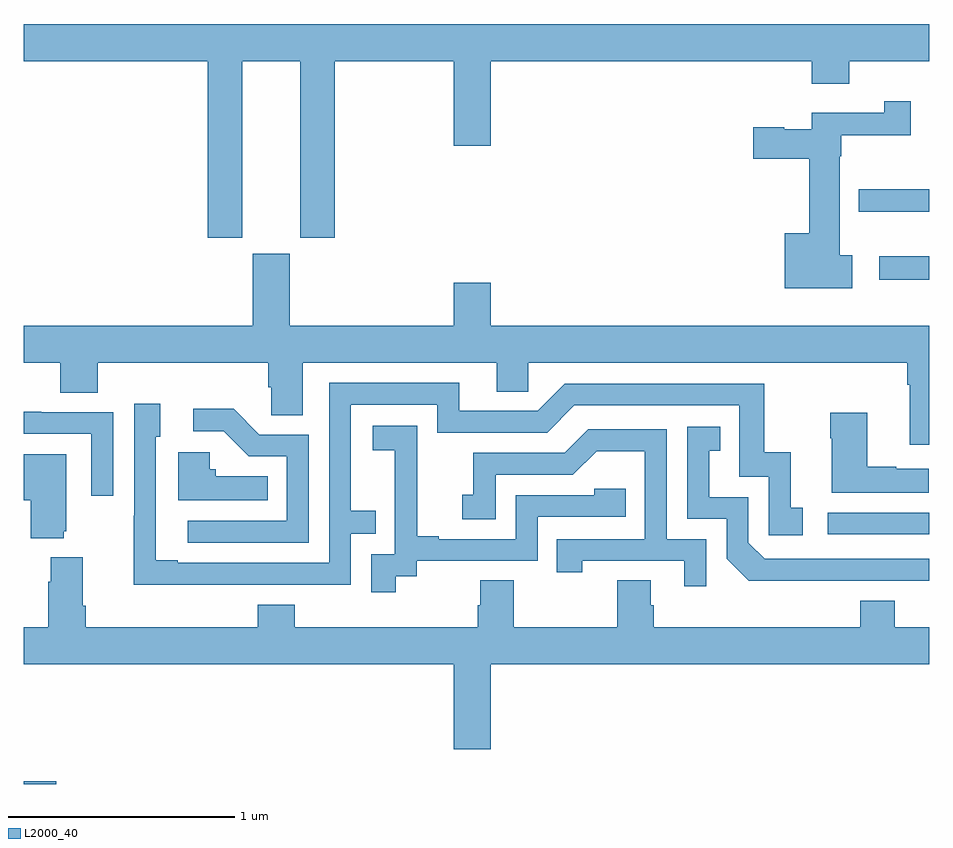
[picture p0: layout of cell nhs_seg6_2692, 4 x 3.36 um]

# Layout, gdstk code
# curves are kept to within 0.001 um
import gdstk
lib = gdstk.Library(unit=1e-6, precision=1e-09)
def R(c, l, rs):  # rectangles x0, y0, x1, y1
    for r in rs: c.add(gdstk.rectangle(r[:2], r[2:], *l))
def P(c, l, *ps):  # polygons
    for p in ps: c.add(gdstk.Polygon(p, *l))
L2000_40 = (2000, 40)

nhs_seg6_2692 = lib.new_cell('nhs_seg6_2692')
R(nhs_seg6_2692, L2000_40, [(271,921.5,271.144,921.512), (274.551,922.602,275,922.698), (274.779,923.726,275,923.83), (274.688,924.026,275,924.126)])
P(nhs_seg6_2692, L2000_40, [(271,924.692),(271.814,924.692),(271.814,923.913),(271.966,923.913),(271.966,924.692),(272.222,924.692),(272.222,923.913),(272.375,923.913),(272.375,924.692),(272.9,924.692),(272.9,924.318),(273.064,924.318),(273.064,924.692),(274.481,924.692),(274.481,924.593),(274.646,924.593),(274.646,924.692),(275,924.692),(275,924.856),(271,924.856)],
  [(274.66,923.835),(274.603,923.835),(274.603,924.273),(274.611,924.273),(274.611,924.364),(274.918,924.364),(274.918,924.514),(274.801,924.514),(274.801,924.463),(274.481,924.463),(274.481,924.391),(274.359,924.391),(274.359,924.399),(274.221,924.399),(274.221,924.262),(274.469,924.262),(274.469,923.932),(274.361,923.932),(274.361,923.69),(274.66,923.69)],
  [(275,923.524),(273.064,923.524),(273.064,923.713),(272.9,923.713),(272.9,923.524),(272.176,923.524),(272.176,923.841),(272.012,923.841),(272.012,923.524),(271,923.524),(271,923.36),(271.163,923.36),(271.163,923.227),(271.328,923.227),(271.328,923.36),(272.081,923.36),(272.081,923.251),(272.094,923.251),(272.094,923.128),(272.233,923.128),(272.233,923.36),(273.089,923.36),(273.089,923.233),(273.228,923.233),(273.228,923.36),(274.901,923.36),(274.901,923.264),(274.913,923.264),(274.913,922.998),(275,922.998)],
  [(271.949,922.38),(272.445,922.38),(272.445,922.605),(272.555,922.605),(272.555,922.706),(272.445,922.706),(272.445,923.175),(272.826,923.175),(272.826,923.052),(273.312,923.052),(273.432,923.172),(274.161,923.172),(274.161,922.857),(274.29,922.857),(274.29,922.599),(274.441,922.599),(274.441,922.719),(274.388,922.719),(274.388,922.966),(274.27,922.966),(274.27,923.268),(273.39,923.268),(273.27,923.148),(272.923,923.148),(272.923,923.271),(272.349,923.271),(272.349,922.476),(271.681,922.476),(271.681,922.489),(271.584,922.489),(271.584,923.034),(271.603,923.034),(271.603,923.179),(271.488,923.179),(271.488,922.685),(271.486,922.685),(271.486,922.379)],
  [(272.259,923.043),(272.04,923.043),(271.927,923.156),(271.749,923.156),(271.749,923.058),(271.883,923.058),(271.994,922.947),(272.163,922.947),(272.163,922.662),(271.725,922.662),(271.725,922.566),(272.259,922.566)],
  [(271.395,923.142),(271.079,923.142),(271.079,923.144),(271,923.144),(271,923.046),(271.299,923.046),(271.299,922.773),(271.395,922.773)],
  [(274.996,922.891),(274.853,922.891),(274.853,922.901),(274.726,922.901),(274.726,923.14),(274.561,923.14),(274.561,923.027),(274.568,923.027),(274.568,922.787),(274.996,922.787)],
  [(272.644,922.417),(272.736,922.417),(272.736,922.485),(273.27,922.485),(273.27,922.68),(273.659,922.68),(273.659,922.803),(273.519,922.803),(273.519,922.776),(273.174,922.776),(273.174,922.581),(272.833,922.581),(272.833,922.594),(272.738,922.594),(272.738,922.877),(272.739,922.877),(272.739,923.083),(272.541,923.083),(272.541,922.973),(272.639,922.973),(272.639,922.745),(272.64,922.745),(272.64,922.515),(272.535,922.515),(272.535,922.347),(272.644,922.347)],
  [(274.61,922.398),(275,922.398),(275,922.494),(274.272,922.494),(274.2,922.566),(274.2,922.767),(274.027,922.767),(274.027,922.971),(274.076,922.971),(274.076,923.077),(273.93,923.077),(273.93,922.671),(274.104,922.671),(274.104,922.494),(274.202,922.397)],
  [(274.014,922.581),(273.84,922.581),(273.84,923.067),(273.494,923.067),(273.389,922.962),(272.986,922.962),(272.986,922.777),(272.937,922.777),(272.937,922.668),(273.084,922.668),(273.084,922.866),(273.426,922.866),(273.53,922.97),(273.744,922.97),(273.744,922.581),(273.355,922.581),(273.355,922.434),(273.466,922.434),(273.466,922.485),(273.917,922.485),(273.917,922.374),(274.014,922.374)],
  [(272.078,922.858),(271.848,922.858),(271.848,922.89),(271.821,922.89),(271.821,922.966),(271.682,922.966),(271.682,922.754),(272.078,922.754)],
  [(271.178,922.617),(271.189,922.617),(271.189,922.957),(271,922.957),(271,922.754),(271.031,922.754),(271.031,922.586),(271.178,922.586)],
  [(273.064,922.028),(275,922.028),(275,922.192),(274.846,922.192),(274.846,922.309),(274.694,922.309),(274.694,922.192),(273.782,922.192),(273.782,922.29),(273.769,922.29),(273.769,922.4),(273.622,922.4),(273.622,922.192),(273.165,922.192),(273.165,922.4),(273.017,922.4),(273.017,922.29),(273.005,922.29),(273.005,922.192),(272.198,922.192),(272.198,922.291),(272.033,922.291),(272.033,922.192),(271.274,922.192),(271.274,922.288),(271.261,922.288),(271.261,922.501),(271.121,922.501),(271.121,922.394),(271.109,922.394),(271.109,922.192),(271,922.192),(271,922.028),(272.9,922.028),(272.9,921.654),(273.064,921.654)])

lib.write_gds('nhs_seg6_2692.gds')
